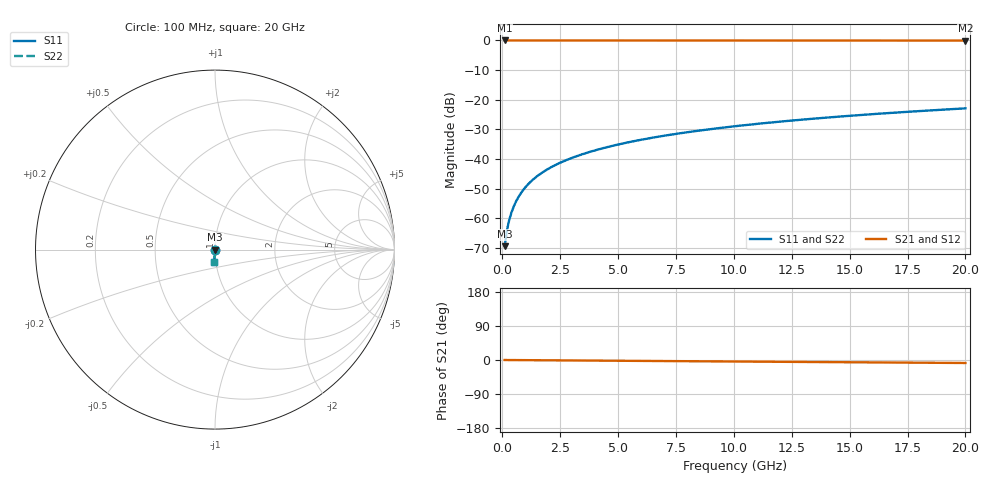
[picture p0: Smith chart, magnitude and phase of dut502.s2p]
! Touchstone file exported from HFSS 2026.1.0
!  File:  C:/ffzhzh/LocalFiles/Ansys_Project_Files/temp_train_TSV_502_1783023088_51716.aedt
!  Generated:  04:13:16 AM Jul  3, 2026
!  Design:  TSV
!  Project:  temp_train_TSV_502_1783023088_51716
! Variables:
!  h_bsmrdl = 2um
!  h_ox = 20um
!  h_rdl = 5um
!  h_sub = 72.63um
!  h_tmrdl = 5um
!  h_tsv = 72.63um
!  h_via = 3um
!  l_bsmrdl = 300um
!  l_sub = 417.58um
!  l_tmrdl = 200um
!  m_sub = 200um
!  pitch = 22.8um
!  r_tsv = 8.79um
!  s_tmrdl = 10um
!  w_bsmrdl = 18um
!  w_sub = 500um
!  w_tmrdl = 12um
!  x_tsv_center1 = 206um
!  x_tsv_center2 = 524um
!  x_tsv_center3 = 736um
!  x_tsv_center4 = 1054um
!  x_tsv_center5 = 1266um
!  x_tsv_center6 = 1584um
# GHz S MA R 50.000000
! Terminal data exported
! Port[1] = TSV1_1_T1
! Port[2] = TSV1_1_T2
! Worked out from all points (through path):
!   200 points, 100 MHz to 20 GHz, reference 50 ohm
!   highest |S21| = 0.00 dB at 100 MHz (marker M1); lowest = 0.0 dB at 20 GHz (marker M2)
!   group delay of S21, straight-line fit = 1.09 ps
!   lowest |S11| = -69.4 dB at 100 MHz (marker M3), VSWR 1.00, Z = 50 - j0.0298 ohm
!   |S11| at or under -10 dB: start of sweep to end of sweep
!   |S22| runs from -69.4 to -22.9 dB; largest |S21 - S12| = 2.1e-15
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0.1  0.0003381 -61.7  0.9998 -0.0  0.9998 -0.0  0.0003381 -61.7
! Gamma 0 0 0 0
! Port Impedance 50 0 50 0
0.2  0.0006281 -73.2  0.9998 -0.1  0.9998 -0.1  0.0006281 -73.2
0.3  0.0009394 -77.1  0.9998 -0.1  0.9998 -0.1  0.0009394 -77.1
0.4  0.001264 -79.0  0.9998 -0.2  0.9998 -0.2  0.001264 -79.0
0.5  0.001599 -80.1  0.9997 -0.2  0.9997 -0.2  0.001599 -80.1
0.7  0.002288 -81.8  0.9997 -0.3  0.9997 -0.3  0.002288 -81.8
0.8  0.002638 -82.4  0.9996 -0.3  0.9996 -0.3  0.002638 -82.4
1  0.003342 -83.5  0.9996 -0.4  0.9996 -0.4  0.003342 -83.5
1.2  0.004049 -84.3  0.9996 -0.5  0.9996 -0.5  0.004049 -84.3
1.4  0.004756 -85.0  0.9995 -0.6  0.9995 -0.6  0.004756 -85.0
1.7  0.005816 -85.8  0.9995 -0.7  0.9995 -0.7  0.005816 -85.8
2  0.006876 -86.4  0.9994 -0.8  0.9994 -0.8  0.006876 -86.4
2.7  0.009351 -87.4  0.9994 -1.1  0.9994 -1.1  0.009351 -87.4
3.5  0.01219 -88.2  0.9992 -1.4  0.9992 -1.4  0.01219 -88.2
4.2  0.01468 -88.8  0.9991 -1.7  0.9991 -1.7  0.01468 -88.8
5  0.01754 -89.3  0.999 -2.0  0.999 -2.0  0.01754 -89.3
6.8  0.024 -90.4  0.9987 -2.7  0.9987 -2.7  0.024 -90.4
8.3  0.0294 -91.2  0.9985 -3.3  0.9985 -3.3  0.0294 -91.2
10.1  0.03589 -92.1  0.9982 -4.0  0.9982 -4.0  0.03589 -92.1
13.4  0.04777 -93.7  0.9975 -5.3  0.9975 -5.3  0.04777 -93.7
16.7  0.05963 -95.1  0.9967 -6.6  0.9967 -6.6  0.05963 -95.1
20  0.07147 -96.5  0.9957 -7.9  0.9957 -7.9  0.07147 -96.5
